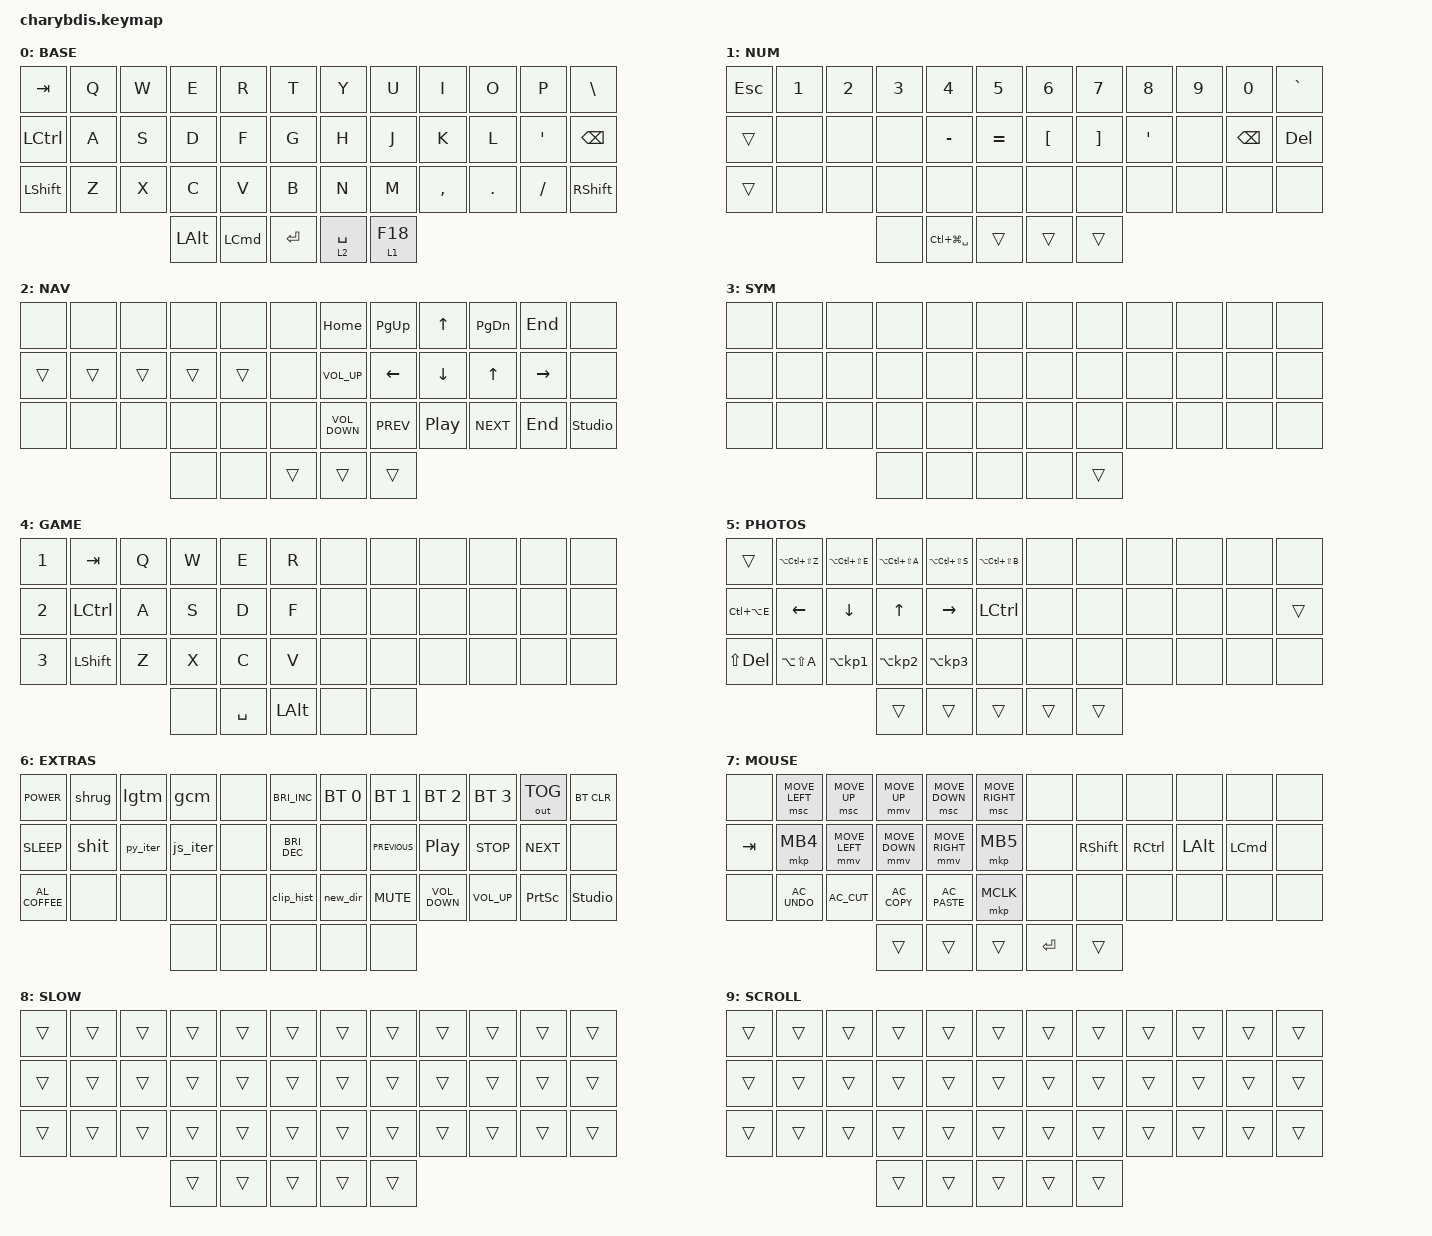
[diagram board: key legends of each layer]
#include <dt-bindings/zmk/mouse.h>
#include <behaviors/mouse_keys.dtsi>
#include "macros.dtsi"
#include <behaviors.dtsi>
#include <dt-bindings/zmk/bt.h>
#include <dt-bindings/zmk/keys.h>
#include <dt-bindings/zmk/outputs.h>
#include <dt-bindings/zmk/pointing.h>

// / {
//     chosen { zmk,matrix_transform = &default_transform; };
// };

/ {
    /* input config for mouse move mode */

    trackball_listener {
        compatible = "zmk,input-behavior-listener";
        device = <&vtrackball>;
        layers = <0 2 7>;
        evt-type = <INPUT_EV_REL>;
        x-input-code = <INPUT_REL_X>;
        y-input-code = <INPUT_REL_Y>;
        scale-multiplier = <1>;
        scale-divisor = <4>;

        // bindings = <&ib_toggle_layer 7>;
    };

    /* input config for snipe mode */

    trackball_snipe_listener {
        compatible = "zmk,input-behavior-listener";
        device = <&vtrackball>;
        layers = <8>;
        evt-type = <INPUT_EV_REL>;
        x-input-code = <INPUT_REL_X>;
        y-input-code = <INPUT_REL_Y>;
        scale-multiplier = <1>;
        scale-divisor = <4>;
    };

    /* input config for mouse scroll mode */

    trackball_scroll_listener {
        compatible = "zmk,input-behavior-listener";
        device = <&vtrackball>;
        layers = <9>; /* 스크롤 레이어 진입 시 스크롤 모드 활성화 */
        evt-type = <INPUT_EV_REL>;
        x-input-code = <INPUT_REL_MISC>;
        y-input-code = <INPUT_REL_WHEEL>;
        y-invert;
        bindings = <&ib_wheel_scaler 1 14>;
    };

    /* define a resolution down scaler only for INPUT_REL_WHEEL */

    ib_wheel_scaler: ib_wheel_scaler {
        compatible = "zmk,input-behavior-scaler";
        #binding-cells = <2>;
        evt-type = <INPUT_EV_REL>;
        input-code = <INPUT_REL_WHEEL>;
    };

    /* adjust cooldown waiting period for mouse key layer after activated */

    ib_toggle_layer: ib_toggle_layer {
        compatible = "zmk,input-behavior-tog-layer";
        #binding-cells = <1>;
        time-to-live-ms = <750>;
    };

    behaviors {
        td_cursor: td_scroll_or_cursor {
            compatible = "zmk,behavior-tap-dance";
            #binding-cells = <0>;
            bindings = <&lt 9 ESC>, <&to 8>;
 // hold, tap, double_tap
        };

        httl: ht_two_layers {
            compatible = "zmk,behavior-hold-tap";
            bindings = <&mo>, <&to>;

            #binding-cells = <2>;
            flavor = "balanced";
            tapping-term-ms = <125>;
        };

        td_layers: td_layer_swap {
            compatible = "zmk,behavior-tap-dance";
            #binding-cells = <0>;
            bindings = <&to 0>, <&to 5>, <&to 4>;
 // tap, double_tap, tripple_tap
        };

        td_clk_scrl: td_click_or_scroll {
            compatible = "zmk,behavior-tap-dance";
            #binding-cells = <0>;
            tapping-term-ms = <250>;
            bindings = <&mkp RCLK>, <&mo 9>;
  // tap/hold, double_tap
        };
    };

    combos {
        compatible = "zmk,combos";

        CapsWord {
            bindings = <&caps_word>;
            key-positions = <17 18>;
            layers = <0>;
        };

        MiddleClick {
            bindings = <&mkp MCLK>;
            key-positions = <28 37>;
        };

        LeftClick {
            bindings = <&mkp LCLK>;
            key-positions = <19 20>;
        };

        RightClick {
            bindings = <&mkp RCLK>;
            key-positions = <20 21>;
        };

        WheelScroll {
            bindings = <&mo 9>;
            key-positions = <19 20 21>;
        };

        // GameLayer {
        //     bindings = <&tog 4>;
        //     key-positions = <8 9>;
        // };
        // PhotoLayer {
        //     bindings = <&tog 5>;
        //     key-positions = <2 3>;
        // };
    };

    // ╭──────┬──────┬──────┬──────┬──────┬──────╮  ╭──────┬──────┬──────┬──────┬──────┬──────╮
    //    00     01     02     03    04      05        06     07     08     09     10     11
    // ├──────┼──────┼──────┼──────┼──────┼──────┤  ├──────┼──────┼──────┼──────┼──────┼──────┤
    //    12     13     14     15    16      17        18     19     20     21     22     23
    // ├──────┼──────┼──────┼──────┼──────┼──────┤  ├──────┼──────┼──────┼──────┼──────┼──────┤
    //    24     25     26     27    28      29        30     31     32     33     34     35
    // ╰──────┴──────┴──────┼──────┼──────┼──────┤  ├──────┼──────┼──────┴──────┴──────┴──────╯
    //                         36     37     38        39     40
    //                      ╰──────┴──────┴──────╯  ╰──────┴──────╯
    // #define BASE    0
    // #define NUM     1
    // #define NAV     2
    // #define SYM     3
    // #define GAME    4
    // #define PHOTOS  5
    // #define EXTRAS  6
    // #define MOUSE   7
    // #define SLOW    8
    // #define SCROLL  9

    keymap {
        compatible = "zmk,keymap";

        BASE {
            bindings = <
&kp TAB     &kp Q  &kp W  &kp E     &kp R     &kp T        &kp Y        &kp U      &kp I      &kp O       &kp P     &kp BSLH
&kp LCTRL   &kp A  &kp S  &kp D     &kp F     &kp G        &kp H        &kp J      &kp K      &kp L       &kp SQT   &kp BACKSPACE
&kp LSHIFT  &kp Z  &kp X  &kp C     &kp V     &kp B        &kp N        &kp M      &kp COMMA  &kp PERIOD  &kp FSLH  &kp RIGHT_SHIFT
                          &kp LALT  &kp LCMD  &kp ENTER    &lt 2 SPACE  &lt 1 F18
            >;
        };

        NUM {
            bindings = <
&kp ESC  &kp N1  &kp N2  &kp N3  &kp N4             &kp N5       &kp N6            &kp N7             &kp N8    &kp N9  &kp N0         &kp GRAVE
&trans   &none   &none   &none   &kp MINUS          &kp EQUAL    &kp LEFT_BRACKET  &kp RIGHT_BRACKET  &kp APOS  &none   &kp BACKSPACE  &kp DELETE
&trans   &none   &none   &none   &none              &none        &none             &none              &none     &none   &none          &none
                         &none   &kp LC(LG(SPACE))  &trans       &trans            &trans
            >;
        };

        NAV {
            bindings = <
&none   &none   &none   &none   &none   &none     &kp HOME           &kp PAGE_UP     &kp UP_ARROW      &kp PAGE_DOWN  &kp END          &none
&trans  &trans  &trans  &trans  &trans  &none     &kp C_VOLUME_UP    &kp LEFT_ARROW  &kp DOWN          &kp UP         &kp RIGHT_ARROW  &none
&none   &none   &none   &none   &none   &none     &kp C_VOLUME_DOWN  &kp C_PREV      &kp C_PLAY_PAUSE  &kp C_NEXT     &kp END          &studio_unlock
                        &none   &none   &trans    &trans             &trans
            >;
        };

        SYM {
            bindings = <
&none  &none  &none  &none  &none  &none    &none  &none   &none  &none  &none  &none
&none  &none  &none  &none  &none  &none    &none  &none   &none  &none  &none  &none
&none  &none  &none  &none  &none  &none    &none  &none   &none  &none  &none  &none
                     &none  &none  &none    &none  &trans
            >;
        };

        GAME {
            bindings = <
&kp N1  &kp TAB    &kp Q  &kp W  &kp E      &kp R           &none  &none  &none  &none  &none  &none
&kp N2  &kp LCTRL  &kp A  &kp S  &kp D      &kp F           &none  &none  &none  &none  &none  &none
&kp N3  &kp LSHFT  &kp Z  &kp X  &kp C      &kp V           &none  &none  &none  &none  &none  &none
                          &none  &kp SPACE  &kp LEFT_ALT    &none  &none
            >;
        };

        PHOTOS {
            bindings = <
&trans          &kp LA(LC(LS(Z)))  &kp LA(LC(LS(E)))  &kp LA(LC(LS(A)))  &kp LA(LC(LS(S)))  &kp LA(LC(LS(B)))    &none   &none   &none  &none  &none  &none
&kp LC(LA(E))   &kp LEFT           &kp DOWN           &kp UP             &kp RIGHT          &kp LCTRL            &none   &none   &none  &none  &none  &trans
&kp LS(DELETE)  &kp LA(LS(A))      &kp LA(KP_N1)      &kp LA(KP_N2)      &kp LA(KP_N3)      &none                &none   &none   &none  &none  &none  &none
                                                      &trans             &trans             &trans               &trans  &trans
            >;
        };

        EXTRAS {
            bindings = <
&kp C_POWER      &shrug  &lgtm     &gcm      &none  &kp C_BRIGHTNESS_INC    &bt BT_SEL 0  &bt BT_SEL 1    &bt BT_SEL 2       &bt BT_SEL 3     &out OUT_TOG     &bt BT_CLR
&kp C_SLEEP      &shit   &py_iter  &js_iter  &none  &kp C_BRIGHTNESS_DEC    &none         &kp C_PREVIOUS  &kp C_PLAY_PAUSE   &kp C_STOP       &kp C_NEXT       &none
&kp C_AL_COFFEE  &none   &none     &none     &none  &clip_hist              &new_dir      &kp K_MUTE      &kp C_VOLUME_DOWN  &kp C_VOLUME_UP  &kp PRINTSCREEN  &studio_unlock
                                   &none     &none  &none                   &none         &none
            >;
        };

        MOUSE {
            bindings = <
&none    &msc MOVE_LEFT  &msc MOVE_UP    &mmv MOVE_UP    &msc MOVE_DOWN   &msc MOVE_RIGHT    &none       &none            &none      &none         &none     &none
&kp TAB  &mkp MB4        &mmv MOVE_LEFT  &mmv MOVE_DOWN  &mmv MOVE_RIGHT  &mkp MB5           &none       &kp RIGHT_SHIFT  &kp RCTRL  &kp LEFT_ALT  &kp LCMD  &none
&none    &kp C_AC_UNDO   &kp C_AC_CUT    &kp C_AC_COPY   &kp C_AC_PASTE   &mkp MCLK          &none       &none            &none      &none         &none     &none
                                         &trans          &trans           &trans             &kp RETURN  &trans
            >;
        };

        SLOW {
            bindings = <
&trans  &trans  &trans  &trans  &trans  &trans    &trans  &trans  &trans  &trans  &trans  &trans
&trans  &trans  &trans  &trans  &trans  &trans    &trans  &trans  &trans  &trans  &trans  &trans
&trans  &trans  &trans  &trans  &trans  &trans    &trans  &trans  &trans  &trans  &trans  &trans
                        &trans  &trans  &trans    &trans  &trans
            >;
        };

        SCROLL {
            bindings = <
&trans  &trans  &trans  &trans  &trans  &trans    &trans  &trans  &trans  &trans  &trans  &trans
&trans  &trans  &trans  &trans  &trans  &trans    &trans  &trans  &trans  &trans  &trans  &trans
&trans  &trans  &trans  &trans  &trans  &trans    &trans  &trans  &trans  &trans  &trans  &trans
                        &trans  &trans  &trans    &trans  &trans
            >;
        };
    };
};
